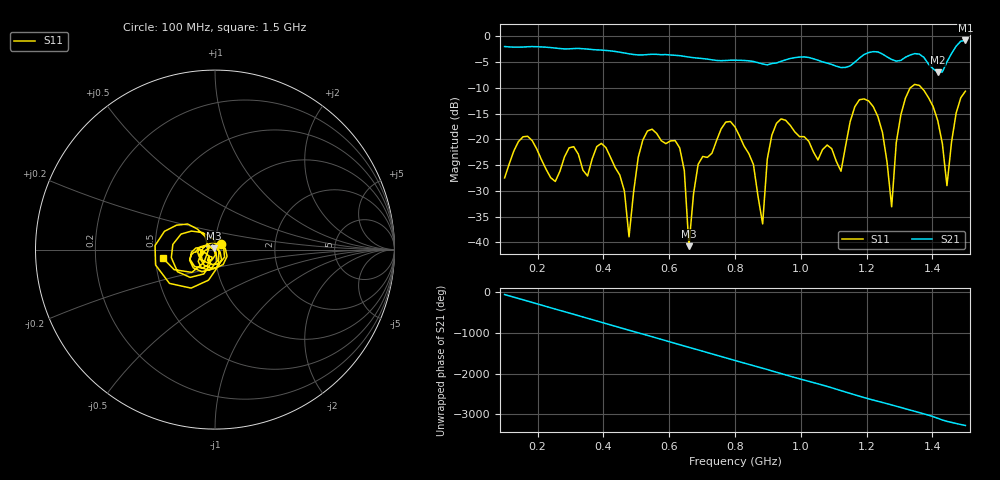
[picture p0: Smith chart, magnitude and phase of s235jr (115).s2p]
! NanoVNA-App
! Date: 2025-09-25 15:05:03
! Start: 100MHz Stop: 1,5GHz Points: 101
! S-Parameter data: F S11 S21 S12 S22
# Hz S RI R 50
!  Frequency  S11_Real  S11_Imag  S21_Real  S21_Imag  S12_Real  S12_Imag  S22_Real  S22_Imag
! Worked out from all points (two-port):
!   101 points, 100 MHz to 1.5 GHz, reference 50 ohm
!   highest |S21| = -0.78 dB at 1.5 GHz (marker M1); lowest = -7.0 dB at 1.416 GHz (marker M2)
!   |S21| within 3 dB of the highest: start of sweep to 636.8 MHz; 1.187 GHz to 1.257 GHz (70.45 MHz wide, 5.77 % of centre) (the widest 2 of 4)
!   lowest |S11| = -40.7 dB at 660 MHz (marker M3), VSWR 1.02, Z = 49.3 + j0.605 ohm
!   |S11| at or under -10 dB: start of sweep to 1.332 GHz; 1.367 GHz to end of sweep
!   S12 and S22 are empty: the file has one direction only
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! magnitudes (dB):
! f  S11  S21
! 100 MHz  -27.5  -2.0
! 170 MHz  -19.4  -2.0
! 338 MHz  -26.0  -2.4
! 408 MHz  -21.6  -2.7
! 478 MHz  -38.9  -3.4
! 520 MHz  -20.1  -3.6
! 576 MHz  -20.3  -3.5
! 632 MHz  -21.7  -3.7
! 660 MHz  -40.7  -4.0
! 688 MHz  -24.8  -4.2
! 800 MHz  -17.6  -4.6
! 884 MHz  -36.4  -5.3
! 926 MHz  -16.9  -5.2
! 1.038 GHz  -22.4  -4.3
! 1.122 GHz  -26.2  -6.0
! 1.206 GHz  -12.5  -3.1
! 1.276 GHz  -33.1  -4.5
! 1.29 GHz  -20.6  -4.8
! 1.332 GHz  -10.0  -3.6
! 1.416 GHz  -16.4  -7.0
! 1.444 GHz  -29.0  -4.9
! 1.5 GHz  -10.6  -0.8
